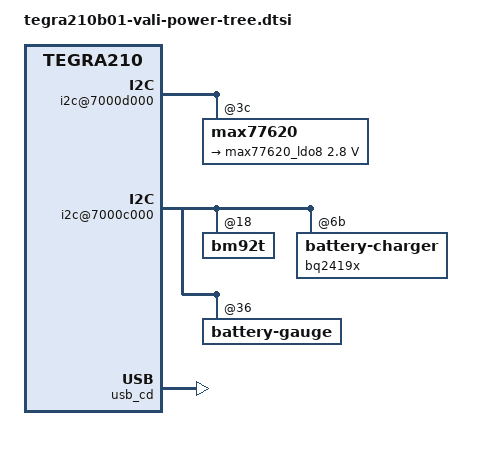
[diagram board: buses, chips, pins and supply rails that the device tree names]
/*
 * Copyright (c) 2022-2023, CTCaer <ctcaer@gmail.com>
 *
 * This program is free software; you can redistribute it and/or modify
 * it under the terms of the GNU General Public License as published by
 * the Free Software Foundation; version 2 of the License.
 *
 * This program is distributed in the hope that it will be useful, but WITHOUT
 * ANY WARRANTY; without even the implied warranty of MERCHANTABILITY or
 * FITNESS FOR A PARTICULAR PURPOSE.  See the GNU General Public License for
 * more details.
 *
 */

#include "tegra210b01-nx-pmic.dtsi"
#include "tegra210-nx-power-fixed.dtsi"

/ {

	pwm_regulators {
		pwm-regulator@0 {
			status = "disabled";
		};

		pwm-regulator@1 {
			status = "disabled";
		};
	};

	i2c@7000d000 {
		max77620: max77620@3c {
			regulators {
				max77620_ldo8: ldo8 {
					regulator-name = "vdd-sio-mcu";
					regulator-max-microvolt = <2800000>;
					regulator-always-on;
					regulator-boot-on;
				};
			};
		};
	};

	i2c@7000c000 {
		bm92t: bm92t@18 {
			/delete-property/ rohm,dp-signal-toggle-on-resume;
			rohm,dp-disable;
			rohm,pd-5v-current-limit-ma = <2000>;
			rohm,pd-9v-current-limit-ma = <1500>;
			rohm,pd-12v-current-limit-ma = <1200>;
			rohm,pd-15v-current-limit-ma = <900>;
		};

		bq2419x: battery-charger@6b {
			battery_charger: charger {
				ti,charge-voltage-limit-millivolt = <4320>; /* Adjusted by cell age */
				ti,fast-charge-current-limit-milliamp = <1664>;
				ti,temp-range = <0 18 47 58>;
				ti,charge-thermal-voltage-limit = <4320 4320 4320 4080>; /* Adjusted by cell age */
				ti,charge-current-limit = <512 640 1664 1664>;
			};
		};

		battery-gauge@36 {
			maxim,over-volt = <4320>; /* Actual: 4370 mV */
			maxim,kernel-maximum-soc = <100>; /* Adjusted by cell age */
		};
	};

	regulators {
		/* Joycon/Fan power (usb) */
		v_vdd50_b: regulator@0xa {
			status = "disabled"; /* Only enabled on Odin/Modin */
		};

		en_vdd_jcl_chgr: regulator@0xe {
			status = "disabled"; /* Only enabled on Odin/Modin/Frig */
		};

		en_vdd_jcr_chgr: regulator@0xf {
			status = "disabled"; /* Only enabled on Odin/Modin/Frig */
		};
	};

	dummy_cool_dev: dummy-cool-dev {
		compatible = "dummy-cooling-dev";
		#cooling-cells = <2>; /* min followed by max */
	};

	i2c@546c0000 {
		bus-pullup-supply = <&battery_reg>;
	};

	efuse@7000f800 {
		vpp_fuse-supply = <&max77620_sd3>;
	};

	host1x {
		/* tegradc.0 */
		dc@54200000 {
			avdd_dsi_csi-supply = <&max77620_ldo0>;
			pavdd_lcd-supply = <&v_pavdd_5v0>;
			navdd_lcd-supply = <&v_navdd_5v0>;
			dvdd_lcd-supply = <&max77620_sd3>;
			vdd_lcd_bl_en-supply = <&lcd_bl_en>;
		};

		vi {
			avdd_dsi_csi-supply = <&max77620_ldo0>;
		};
	};

	sound_card: sound {
		spkvdd-supply = <&battery_reg>;
		dbvdd-supply = <&max77620_sd3>;
		avdd-supply = <&max77620_sd3>;
	};

	pmc-iopower {
		vddio-sys-supply = <&max77620_sd3>;
		vddio-uart-supply = <&max77620_sd3>;
		vddio-audio-supply = <&max77620_sd3>;
		vddio-cam-supply = <&max77620_sd3>;
		vddio-pex-ctrl-supply = <&max77620_sd3>;
		vddio-sdmmc1-supply = <&max77620_ldo2>;
		vddio-sdmmc3-supply = <&max77620_sd3>;
		vddio-sdmmc4-supply = <&max77620_sd3>;
		vddio-audio-hv-supply = <&max77620_sd3>;
		vddio-debug-supply = <&max77620_sd3>;
		vddio-dbg-supply = <&max77620_sd3>;
		vddio-dmic-supply = <&max77620_sd3>;
		vddio-gpio-supply = <&max77620_sd3>;
		vddio-spi-supply = <&max77620_sd3>;
		vddio-spi-hv-supply = <&max77620_sd3>;
		vddio-sdmmc2-supply = <&max77620_sd3>;
		vddio-dp-supply = <&max77620_sd3>;
	};

	usb_cd {
		usb_bat_chg-supply = <&battery_charger>;
		phys = <&{/xusb_padctl@7009f000/pads/usb2/lanes/usb2-0}>;
		phy-names = "otg-phy";
		nvidia,cdp-current-limit-ua = <1200000>;
		nvidia,dcp-current-limit-ua = <1200000>;
		status = "okay";
		#extcon-cells = <1>;
		extcon-cables = <&bm92t 2>;
		extcon-cable-names = "pd";
	};

	xusb@70090000 {
		hvdd_usb-supply = <&vdd_3v3>;
		avdd_pll_utmip-supply = <&max77620_sd3>;
		avddio_usb-supply = <&max77620_ldo1>;
		avddio_pll_uerefe-supply = <&max77620_sd3>;
	};

	xudc@700d0000 {
		hvdd_usb-supply = <&vdd_3v3>;
		avdd_pll_utmip-supply = <&max77620_sd3>;
		avddio_usb-supply = <&max77620_ldo1>;
	};

	xusb_padctl@7009f000 {
		avdd_pll_uerefe-supply = <&max77620_sd3>;
		hvdd_pex_pll_e-supply = <&max77620_sd3>;
		dvdd_pex_pll-supply = <&max77620_ldo1>;
		hvddio_pex-supply = <&max77620_sd3>;
		dvddio_pex-supply = <&max77620_ldo1>;

		ports {
			usb2-0 {
				vbus-supply = <&battery_reg>; /* Actual v_vdd5v3 */
			};
		};
	};

	sdhci@700b0600 {
		vqmmc-supply = <&max77620_sd3>;
		vmmc-supply = <&vdd_3v3>;
	};

	sdhci@700b0400 {
		vqmmc-supply = <&max77620_sd3>;
		vmmc-supply = <&vdd_3v3>;
	};

	sdhci@700b0200 {
		vqmmc-supply = <&max77620_sd3>;
		vmmc-supply = <&vdd_3v3>;
	};

	sdhci@700b0000 {
		vqmmc-supply = <&max77620_ldo2>;
		vmmc-supply = <&en_vdd_sd>;
	};

	bluedroid_pm {
		avdd-supply = <&battery_reg>;
		dvdd-supply = <&max77620_sd3>;
	};

	pwm-fan {
		vdd-fan-supply = <&v_vdd50_a>;
	};
};
